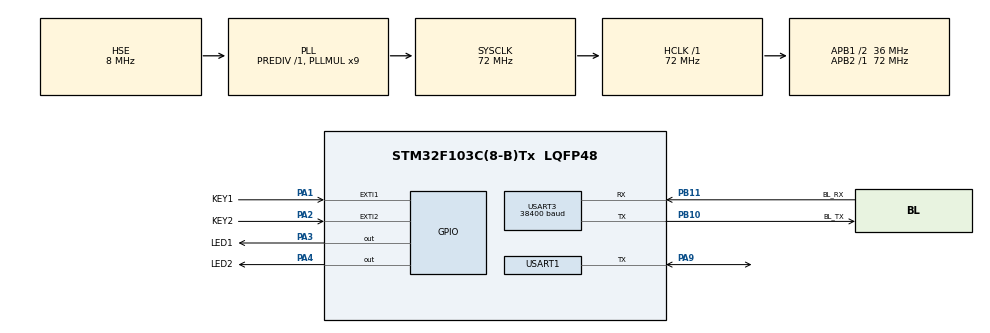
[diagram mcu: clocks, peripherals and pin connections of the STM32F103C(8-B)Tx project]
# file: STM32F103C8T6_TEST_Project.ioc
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Mcu.Family=STM32F1
Mcu.Name=STM32F103C(8-B)Tx
Mcu.Package=LQFP48
NVIC.EXTI1_IRQn=true\:2\:0\:true\:false\:true\:true\:true
NVIC.EXTI2_IRQn=true\:2\:0\:true\:false\:true\:true\:true
NVIC.PriorityGroup=NVIC_PRIORITYGROUP_4
NVIC.USART1_IRQn=true\:0\:0\:false\:false\:true\:true\:true
NVIC.USART3_IRQn=true\:1\:0\:true\:false\:true\:true\:true
PA1.GPIO_Label=KEY1
PA1.GPIO_ModeDefaultEXTI=GPIO_MODE_IT_FALLING
PA1.GPIO_PuPd=GPIO_PULLUP
PA1.Signal=GPXTI1
PA13.Mode=Serial_Wire
PA13.Signal=SYS_JTMS-SWDIO
PA14.Mode=Serial_Wire
PA14.Signal=SYS_JTCK-SWCLK
PA2.GPIO_Label=KEY2
PA2.GPIO_ModeDefaultEXTI=GPIO_MODE_IT_FALLING
PA2.GPIO_PuPd=GPIO_PULLUP
PA2.Signal=GPXTI2
PA3.GPIO_Label=LED1
PA3.Signal=GPIO_Output
PA4.GPIO_Label=LED2
PA4.Signal=GPIO_Output
PA9.Mode=Half_duplex(single_wire_mode)
PA9.Signal=USART1_TX
PB10.GPIO_Label=BL_TX
PB10.Mode=Asynchronous
PB10.Signal=USART3_TX
PB11.GPIO_Label=BL_RX
PB11.Mode=Asynchronous
PB11.Signal=USART3_RX
PC14-OSC32_IN.Mode=LSE-External-Oscillator
PC14-OSC32_IN.Signal=RCC_OSC32_IN
PC15-OSC32_OUT.Mode=LSE-External-Oscillator
PC15-OSC32_OUT.Signal=RCC_OSC32_OUT
PD0-OSC_IN.Mode=HSE-External-Oscillator
PD0-OSC_IN.Signal=RCC_OSC_IN
PD1-OSC_OUT.Mode=HSE-External-Oscillator
PD1-OSC_OUT.Signal=RCC_OSC_OUT
ProjectManager.HeapSize=0x200
ProjectManager.StackSize=0x400
ProjectManager.TargetToolchain=EWARM V8
RCC.AHBFreq_Value=72000000
RCC.APB1CLKDivider=RCC_HCLK_DIV2
RCC.APB1Freq_Value=36000000
RCC.APB1TimFreq_Value=72000000
RCC.APB2Freq_Value=72000000
RCC.APB2TimFreq_Value=72000000
RCC.HCLKFreq_Value=72000000
RCC.PLLMUL=RCC_PLL_MUL9
RCC.PLLSourceVirtual=RCC_PLLSOURCE_HSE
RCC.SYSCLKFreq_VALUE=72000000
RCC.SYSCLKSource=RCC_SYSCLKSOURCE_PLLCLK
RCC.USBFreq_Value=72000000
USART1.BaudRate=38400
USART1.VirtualMode=VM_ASYNC
USART1.WordLength=WORDLENGTH_8B
USART3.BaudRate=38400
USART3.VirtualMode=VM_ASYNC
board=custom

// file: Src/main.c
/* USER CODE BEGIN Header */
/**
  ******************************************************************************
  * @file           : main.c
  * @brief          : Main program body
  ******************************************************************************
  ** This notice applies to any and all portions of this file
  * that are not between comment pairs USER CODE BEGIN and
  * USER CODE END. Other portions of this file, whether
  * inserted by the user or by software development tools
  * are owned by their respective copyright owners.
  *
  * COPYRIGHT(c) 2019 STMicroelectronics
  *
  * Redistribution and use in source and binary forms, with or without modification,
  * are permitted provided that the following conditions are met:
  *   1. Redistributions of source code must retain the above copyright notice,
  *      this list of conditions and the following disclaimer.
  *   2. Redistributions in binary form must reproduce the above copyright notice,
  *      this list of conditions and the following disclaimer in the documentation
  *      and/or other materials provided with the distribution.
  *   3. Neither the name of STMicroelectronics nor the names of its contributors
  *      may be used to endorse or promote products derived from this software
  *      without specific prior written permission.
  *
  * THIS SOFTWARE IS PROVIDED BY THE COPYRIGHT HOLDERS AND CONTRIBUTORS "AS IS"
  * AND ANY EXPRESS OR IMPLIED WARRANTIES, INCLUDING, BUT NOT LIMITED TO, THE
  * IMPLIED WARRANTIES OF MERCHANTABILITY AND FITNESS FOR A PARTICULAR PURPOSE ARE
  * DISCLAIMED. IN NO EVENT SHALL THE COPYRIGHT HOLDER OR CONTRIBUTORS BE LIABLE
  * FOR ANY DIRECT, INDIRECT, INCIDENTAL, SPECIAL, EXEMPLARY, OR CONSEQUENTIAL
  * DAMAGES (INCLUDING, BUT NOT LIMITED TO, PROCUREMENT OF SUBSTITUTE GOODS OR
  * SERVICES; LOSS OF USE, DATA, OR PROFITS; OR BUSINESS INTERRUPTION) HOWEVER
  * CAUSED AND ON ANY THEORY OF LIABILITY, WHETHER IN CONTRACT, STRICT LIABILITY,
  * OR TORT (INCLUDING NEGLIGENCE OR OTHERWISE) ARISING IN ANY WAY OUT OF THE USE
  * OF THIS SOFTWARE, EVEN IF ADVISED OF THE POSSIBILITY OF SUCH DAMAGE.
  *
  ******************************************************************************
  */
/* USER CODE END Header */

#include "main.h"
#include "usart.h"
#include "gpio.h"

/* USER CODE BEGIN Includes */
#include "string.h"
#include "stdlib.h"
/* USER CODE END Includes */

void SystemClock_Config(void);

int main(void)
{
  /* USER CODE BEGIN 1 */
    uint8_t *p_Tx_cmd = NULL;
  /* USER CODE END 1 */

  /* MCU Configuration--------------------------------------------------------*/

  /* Reset of all peripherals, Initializes the Flash interface and the Systick. */
  HAL_Init();

  /* Configure the system clock */
  SystemClock_Config();

  /* Initialize all configured peripherals */
  MX_GPIO_Init();
  MX_USART1_UART_Init();
  MX_USART3_UART_Init();
  /* USER CODE BEGIN 2 */
  HAL_UART_Receive_IT(&huart1, (uint8_t *)&Data_Uart1Rec, 1);
  HAL_UART_Receive_IT(&huart3, (uint8_t *)&Data_Uart3Rec, 1);

  p_Tx_cmd = "Init Success...\r\n";
  UART_Transmit_Str(&huart1,strlen((const char*)p_Tx_cmd),p_Tx_cmd);
  /* USER CODE END 2 */

  /* Infinite loop */
  /* USER CODE BEGIN WHILE */
  p_Tx_cmd = "while running...\r\n";
  while (1)
  {/*
	HC_05_STATE();
	HC_05_PSWD();*/
	HAL_Delay(1000);

    if(Uart1_rx.rx_cpl)
    {
        Uart1_rx.rx_cpl = 0;

        printf("\r\n");
        p_Tx_cmd = Uart1_rx.rx_buf;
        UART_Transmit_Str(&huart1,strlen((const char*)p_Tx_cmd),p_Tx_cmd);
    }
    UART_Transmit_Str(&huart1,strlen((const char*)p_Tx_cmd),p_Tx_cmd);
    /* USER CODE END WHILE */

  }
}

void SystemClock_Config(void)
{
  RCC_OscInitTypeDef RCC_OscInitStruct = {0};
  RCC_ClkInitTypeDef RCC_ClkInitStruct = {0};

  /** Initializes the CPU, AHB and APB busses clocks
  */
  RCC_OscInitStruct.OscillatorType = RCC_OSCILLATORTYPE_HSE;
  RCC_OscInitStruct.HSEState = RCC_HSE_ON;
  RCC_OscInitStruct.HSEPredivValue = RCC_HSE_PREDIV_DIV1;
  RCC_OscInitStruct.HSIState = RCC_HSI_ON;
  RCC_OscInitStruct.PLL.PLLState = RCC_PLL_ON;
  RCC_OscInitStruct.PLL.PLLSource = RCC_PLLSOURCE_HSE;
  RCC_OscInitStruct.PLL.PLLMUL = RCC_PLL_MUL9;
  if (HAL_RCC_OscConfig(&RCC_OscInitStruct) != HAL_OK)
  {
    Error_Handler();
  }
  /** Initializes the CPU, AHB and APB busses clocks
  */
  RCC_ClkInitStruct.ClockType = RCC_CLOCKTYPE_HCLK|RCC_CLOCKTYPE_SYSCLK
                              |RCC_CLOCKTYPE_PCLK1|RCC_CLOCKTYPE_PCLK2;
  RCC_ClkInitStruct.SYSCLKSource = RCC_SYSCLKSOURCE_PLLCLK;
  RCC_ClkInitStruct.AHBCLKDivider = RCC_SYSCLK_DIV1;
  RCC_ClkInitStruct.APB1CLKDivider = RCC_HCLK_DIV2;
  RCC_ClkInitStruct.APB2CLKDivider = RCC_HCLK_DIV1;

  if (HAL_RCC_ClockConfig(&RCC_ClkInitStruct, FLASH_LATENCY_2) != HAL_OK)
  {
    Error_Handler();
  }
}

void Error_Handler(void)
{
}

/************************ (C) COPYRIGHT STMicroelectronics *****END OF FILE****/
